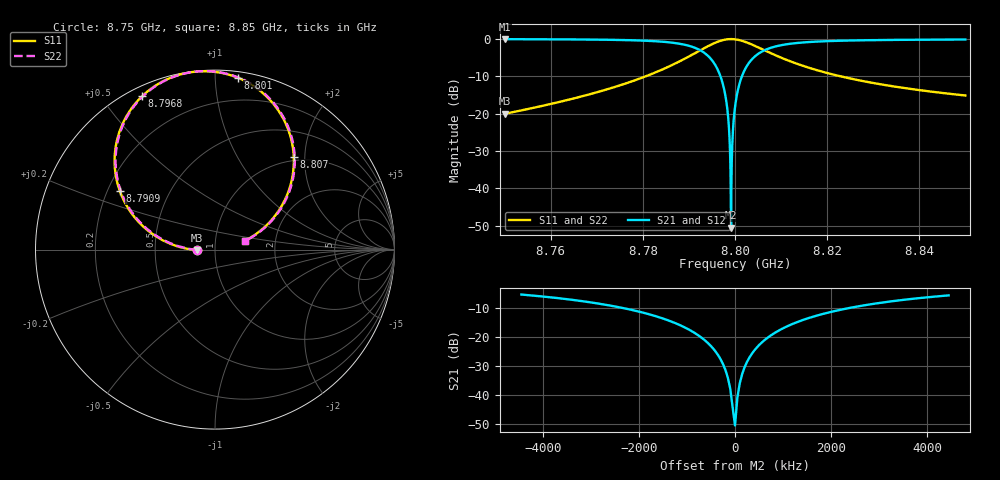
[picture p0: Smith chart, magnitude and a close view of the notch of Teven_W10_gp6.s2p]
! Sonnet Data File
! From: emgraph Version : 16.52
! From Emgraph Data: transmon_trial
! Data File Written: 10/20/2017 14:29:51
!< HDATE 10/20/2017 14:13:03
!< MDATE 10/20/2017 14:13:03
!< PARAMS
!< Lj = 15.24
!< Gap = 6.0
!< Width = 10.0
!< Pwidth = 2000.0
!< END PARAMS
# GHZ S MA R 51.00000
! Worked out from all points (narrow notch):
!   2001 points, 8.75 GHz to 8.85 GHz, reference 51 ohm
!   highest |S21| = -0.04 dB at 8.75 GHz (marker M1); lowest = -50.5 dB at 8.7991 GHz (marker M2)
!   notch at M2: 50.2 dB deep, 749 kHz wide at half that depth
!   lowest |S11| = -20.0 dB at 8.75 GHz (marker M3), VSWR 1.22, Z = 41.8 - j0.249 ohm
!   |S11| at or under -10 dB: start of sweep to 8.780596 GHz; 8.822946 GHz to end of sweep
!   |S22| runs from -20.0 to 0.0 dB; largest |S21 - S12| = 0
!   S11 on the Smith chart (normalised r, x): 8.75 GHz: 0.82, -0.00; 8.7909 GHz: 0.25, +0.27; 8.7968 GHz: 0.04, +0.63; 8.801 GHz: 0.04, +1.14; 8.807 GHz: 0.93, +1.78; 8.85 GHz: 1.40, +0.14
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8.75  0.09968 -178.3  0.995 -88.6  0.995 -88.6  0.09968 -179.0
!< P1 F=8.75 Eeff=(6.44679771 -2.9786e-5) Z0=(51.799172 1.19069e-4) R=0.0 C=0.0
!< P2 F=8.75 Eeff=(6.44679771 -2.9786e-5) Z0=(51.799172 1.19069e-4) R=0.0 C=0.0
8.7667  0.1704 177.4  0.9853 -92.9  0.9853 -92.9  0.1704 176.7
8.78335  0.3703 165.3  0.9285 -105.0  0.9285 -105.0  0.3703 164.6
8.78755  0.4872 157.8  0.8725 -112.4  0.8725 -112.4  0.4872 157.2
8.79085  0.6226 148.4  0.7811 -121.8  0.7811 -121.8  0.6226 147.8
8.7945  0.8229 131.4  0.5649 -138.7  0.5649 -138.7  0.8229 130.8
8.79685  0.9463 115.4  0.316 -154.5  0.316 -154.5  0.9463 114.8
8.7981  0.9864 105.5  0.1484 -163.8  0.1484 -163.8  0.9864 104.9
8.79845  0.9926 102.6  0.09884 -166.2  0.09884 -166.2  0.9926 102.0
8.7988  0.9963 99.7  0.04876 -167.6  0.04876 -167.6  0.9963 99.1
8.79915  0.9975 96.8  0.002987 -51.6  0.002987 -51.6  0.9975 96.2
8.7995  0.9961 94.0  0.05169 0.9  0.05169 0.9  0.9961 93.4
8.79975  0.9937 91.9  0.08708 -0.0  0.08708 -0.0  0.9937 91.3
8.8  0.99 89.9  0.122 -1.6  0.122 -1.6  0.99 89.3
8.80095  0.9661 82.5  0.2491 -8.4  0.2491 -8.4  0.9661 81.9
8.80195  0.9272 75.3  0.3689 -15.4  0.3689 -15.4  0.9272 74.7
8.80325  0.8644 67.0  0.4991 -23.6  0.4991 -23.6  0.8644 66.3
8.807  0.6785 49.7  0.7331 -40.7  0.7331 -40.7  0.6785 49.1
8.81125  0.5237 38.5  0.8512 -51.9  0.8512 -51.9  0.5237 37.9
8.8167  0.4005 30.4  0.9159 -59.9  0.9159 -59.9  0.4005 29.8
8.83335  0.2376 20.4  0.9713 -70.0  0.9713 -70.0  0.2376 19.8
8.85  0.1754 16.5  0.9844 -73.7  0.9844 -73.7  0.1754 16.0
